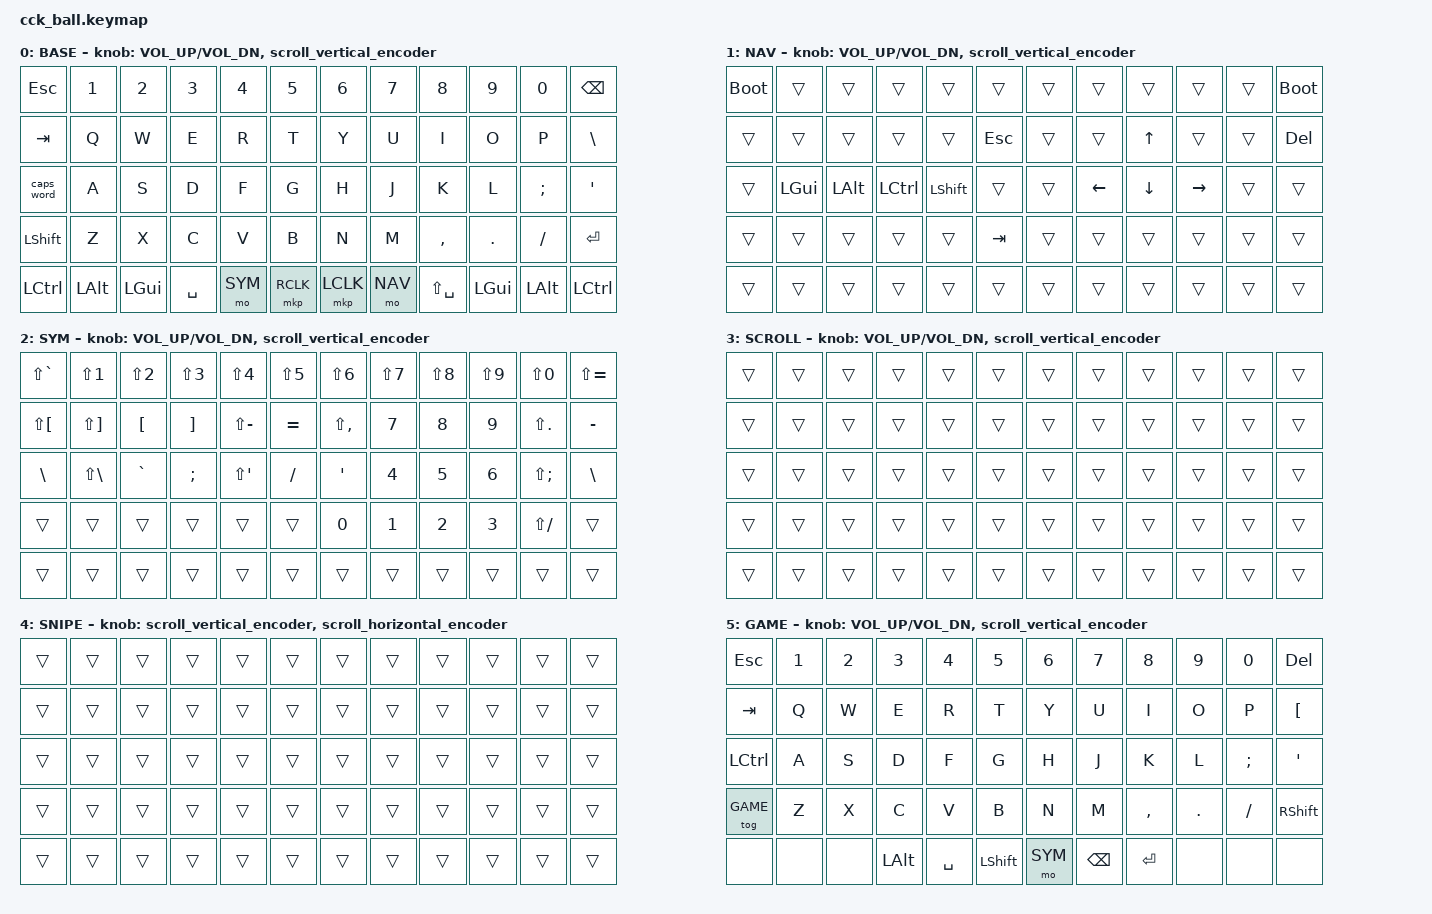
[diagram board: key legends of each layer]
#define ZMK_POINTING_DEFAULT_MOVE_VAL 1000 // 600
#define ZMK_POINTING_DEFAULT_SCRL_VAL 12   // 10

#define BASE 0
#define NAV 1
#define SYM 2
#define SCROLL 3
#define SNIPE 4
#define GAME 5

#include <input/processors.dtsi>
#include <zephyr/dt-bindings/input/input-event-codes.h>
#include <behaviors.dtsi>
#include <dt-bindings/zmk/bt.h>
#include <dt-bindings/zmk/keys.h>
#include <dt-bindings/zmk/pointing.h>

&mmv_input_listener { input-processors = <&zip_xy_scaler 2 1>; };

&msc_input_listener { input-processors = <&zip_scroll_scaler 2 1>; };

&msc {
    acceleration-exponent = <0>;      // 0
    time-to-max-speed-ms = <300>;     // 300
    delay-ms = <0>;                   // 0
};

&mmv {
    time-to-max-speed-ms = <500>;
    acceleration-exponent = <1>;
    trigger-period-ms = <16>;
};

&soft_off { hold-time-ms = <2000>; };

/ {
    scroll_vertical_encoder: scroll_vertical_encoder {
        compatible = "zmk,behavior-sensor-rotate";
        #sensor-binding-cells = <0>;
        bindings = <&msc SCRL_DOWN>, <&msc SCRL_UP>;
        tap-ms = <100>;
    };

    scroll_horizontal_encoder: scroll_horizontal_encoder {
        compatible = "zmk,behavior-sensor-rotate";
        #sensor-binding-cells = <0>;
        bindings = <&msc SCRL_LEFT>, <&msc SCRL_RIGHT>;
        tap-ms = <100>;
    };

    keymap {
        compatible = "zmk,keymap";

        base_layer {
            display-name = "BASE";
            bindings = <
&kp ESC       &kp N1        &kp N2        &kp N3        &kp N4         &kp N5      &kp N6      &kp N7        &kp N8        &kp N9           &kp N0        &kp BSPC
&kp TAB       &kp Q         &kp W         &kp E         &kp R          &kp T       &kp Y       &kp U         &kp I         &kp O            &kp P         &kp BSLH
&caps_word    &kp A   &kp S    &kp D    &kp F    &kp G       &kp H       &kp J   &kp K    &kp L       &kp SEMI &kp SQT
&kp LSHFT     &kp Z         &kp X         &kp C         &kp V          &kp B       &kp N       &kp M         &kp COMMA     &kp DOT          &kp FSLH      &kp ENTER
&kp LCTRL         &kp LALT         &kp LGUI         &kp SPACE      &mo SYM &mkp RCLK   &mkp LCLK  &mo NAV     &kp LS(SPACE) &kp LGUI            &kp LALT         &kp LCTRL
            >;

            sensor-bindings = <&inc_dec_kp C_VOL_UP C_VOL_DN &scroll_vertical_encoder>;
        };

        nav_layer {
            display-name = "NAV";
            bindings = <
&bootloader  &trans    &trans    &trans     &trans     &trans    &trans  &trans          &trans          &trans           &trans  &bootloader
&trans  &trans    &trans    &trans     &trans     &kp ESC   &trans  &trans          &kp UP_ARROW    &trans           &trans  &kp DELETE
&trans  &kp LGUI  &kp LALT  &kp LCTRL  &kp LSHFT  &trans    &trans  &kp LEFT_ARROW  &kp DOWN_ARROW  &kp RIGHT_ARROW  &trans  &trans
&trans  &trans    &trans    &trans     &trans     &kp TAB   &trans  &trans          &trans          &trans           &trans  &trans
&trans  &trans    &trans    &trans     &trans     &trans    &trans  &trans          &trans          &trans           &trans  &trans
            >;

            sensor-bindings = <&inc_dec_kp C_VOL_UP C_VOL_DN &scroll_vertical_encoder>;
        };

        sym_layer {
            display-name = "SYM";
            bindings = <
&kp LS(GRAVE)  &kp LS(N1)    &kp LS(N2)  &kp LS(N3)  &kp LS(N4)    &kp LS(N5)  &kp LS(N6)    &kp LS(N7)  &kp LS(N8)  &kp LS(N9)    &kp LS(N0)    &kp LS(EQUAL)
&kp LS(LBKT)   &kp LS(RBKT)  &kp LBKT    &kp RBKT    &kp LS(MINUS) &kp EQUAL   &kp LS(COMMA) &kp N7      &kp N8      &kp N9        &kp LS(DOT)   &kp MINUS
&kp BSLH       &kp LS(BSLH)  &kp GRAVE   &kp SEMI    &kp LS(SQT)   &kp FSLH    &kp SQT       &kp N4      &kp N5      &kp N6        &kp LS(SEMI)  &kp BSLH
&trans         &trans        &trans      &trans      &trans        &trans      &kp N0        &kp N1      &kp N2      &kp N3        &kp LS(FSLH)  &trans
&trans         &trans        &trans      &trans      &trans        &trans      &trans        &trans      &trans      &trans        &trans        &trans
            >;

            sensor-bindings = <&inc_dec_kp C_VOL_UP C_VOL_DN &scroll_vertical_encoder>;
        };

        scroll_layer {
            display-name = "SCROLL";
            bindings = <
&trans  &trans  &trans  &trans  &trans  &trans  &trans  &trans  &trans  &trans  &trans  &trans
&trans  &trans  &trans  &trans  &trans  &trans  &trans  &trans  &trans  &trans  &trans  &trans
&trans  &trans  &trans  &trans  &trans  &trans  &trans  &trans  &trans  &trans  &trans  &trans
&trans  &trans  &trans  &trans  &trans  &trans  &trans  &trans  &trans  &trans  &trans  &trans
&trans  &trans  &trans  &trans  &trans  &trans  &trans  &trans  &trans  &trans  &trans  &trans
            >;

            sensor-bindings = <&inc_dec_kp C_VOL_UP C_VOL_DN &scroll_vertical_encoder>;
        };

        snipe_layer {
            display-name = "SNIPE";
            bindings = <
&trans  &trans  &trans  &trans  &trans  &trans  &trans  &trans  &trans  &trans  &trans  &trans
&trans  &trans  &trans  &trans  &trans  &trans  &trans  &trans  &trans  &trans  &trans  &trans
&trans  &trans  &trans  &trans  &trans  &trans  &trans  &trans  &trans  &trans  &trans  &trans
&trans  &trans  &trans  &trans  &trans  &trans  &trans  &trans  &trans  &trans  &trans  &trans
&trans  &trans  &trans  &trans  &trans  &trans  &trans  &trans  &trans  &trans  &trans  &trans
            >;

            sensor-bindings = <&scroll_vertical_encoder>,
                             <&scroll_horizontal_encoder>;
        };

        game_layer {
            display-name = "GAME";
            bindings = <
&kp ESC       &kp N1     &kp N2     &kp N3     &kp N4     &kp N5     &kp N6     &kp N7     &kp N8     &kp N9     &kp N0     &kp DELETE
&kp TAB       &kp Q      &kp W      &kp E      &kp R      &kp T      &kp Y      &kp U      &kp I      &kp O      &kp P      &kp LBKT
&kp LCTRL     &kp A      &kp S      &kp D      &kp F      &kp G      &kp H      &kp J      &kp K      &kp L      &kp SEMI   &kp SQT
&tog GAME     &kp Z      &kp X      &kp C      &kp V      &kp B      &kp N      &kp M      &kp COMMA  &kp DOT    &kp FSLH   &kp RSHFT
&none         &none      &none      &kp LALT   &kp SPACE  &kp LSHFT  &mo SYM    &kp BSPC   &kp ENTER  &none      &none      &none
            >;

            sensor-bindings = <&inc_dec_kp C_VOL_UP C_VOL_DN &scroll_vertical_encoder>;
        };
    };
};
